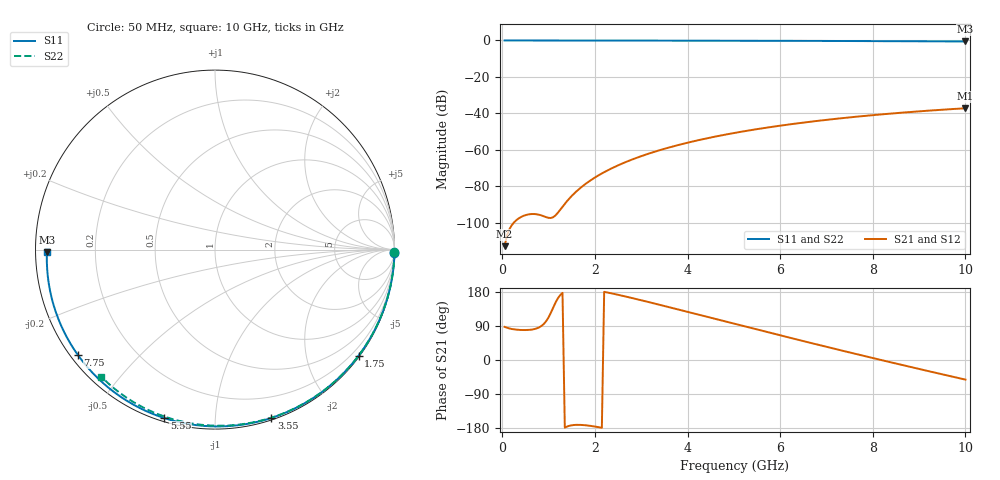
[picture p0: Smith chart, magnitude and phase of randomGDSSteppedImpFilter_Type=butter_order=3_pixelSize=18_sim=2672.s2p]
! freq	dB(S11)	phase(S11)	dB(S12)	phase(S12)
!  dB(S21)	phase(S21)	dB(S22)	phase(S22)
!S-par simulation data
#  GHz  S  DB  R 50
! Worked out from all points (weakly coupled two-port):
!   200 points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, 50 MHz to 10 GHz, reference 50 ohm
!   highest |S21| = -37.25 dB at 10 GHz (marker M1); lowest = -113.0 dB at 50 MHz (marker M2)
!   lowest |S11| = -0.6 dB at 10 GHz (marker M3), VSWR 30.63, Z = 1.63 - j0.404 ohm
!   |S11| at or under -10 dB: nowhere
!   |S22| runs from -0.4 to 0.0 dB; largest |S21 - S12| = 0
!   S11 on the Smith chart (normalised r, x): 50 MHz: open; 1.75 GHz: 0.03, -3.04; 3.55 GHz: 0.02, -1.39; 5.55 GHz: 0.02, -0.74; 7.75 GHz: 0.02, -0.34; 10 GHz: 0.03, -0.01
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0.05  -0.00 -1.1  -113.00 87.5  -113.00 87.5  -0.00 -0.8
0.45  -0.01 -9.5  -96.43 79.0  -96.43 79.0  -0.01 -6.8
0.85  -0.02 -17.9  -96.15 90.2  -96.15 90.2  -0.02 -12.9
1.25  -0.03 -26.2  -93.01 171.2  -93.01 171.2  -0.02 -18.9
1.7  -0.04 -35.4  -80.72 -171.3  -80.72 -171.3  -0.03 -25.5
1.75  -0.05 -36.4  -79.71 -171.7  -79.71 -171.7  -0.03 -26.3
1.9  -0.05 -39.5  -76.95 -173.7  -76.95 -173.7  -0.04 -28.5
2.05  -0.05 -42.5  -74.52 -176.7  -74.52 -176.7  -0.04 -30.7
2.25  -0.06 -46.5  -71.68 178.7  -71.68 178.7  -0.04 -33.6
2.45  -0.06 -50.4  -69.19 173.5  -69.19 173.5  -0.05 -36.5
2.9  -0.08 -59.2  -64.47 160.7  -64.47 160.7  -0.06 -42.9
3.4  -0.09 -68.7  -60.26 145.6  -60.26 145.6  -0.07 -50.0
3.55  -0.09 -71.5  -59.16 141.0  -59.16 141.0  -0.07 -52.1
4.3  -0.12 -85.1  -54.40 117.7  -54.40 117.7  -0.09 -62.4
5.05  -0.15 -98.3  -50.63 94.3  -50.63 94.3  -0.11 -72.4
5.55  -0.17 -106.8  -48.51 78.9  -48.51 78.9  -0.13 -78.9
6.1  -0.20 -115.9  -46.46 62.0  -46.46 62.0  -0.15 -85.8
6.7  -0.24 -125.7  -44.50 43.8  -44.50 43.8  -0.18 -93.3
7.75  -0.32 -142.6  -41.62 12.5  -41.62 12.5  -0.24 -105.9
8.35  -0.38 -152.1  -40.25 -5.0  -40.25 -5.0  -0.29 -112.9
9.2  -0.47 -165.8  -38.57 -29.3  -38.57 -29.3  -0.36 -122.7
10  -0.57 -179.1  -37.25 -51.7  -37.25 -51.7  -0.45 -131.8
